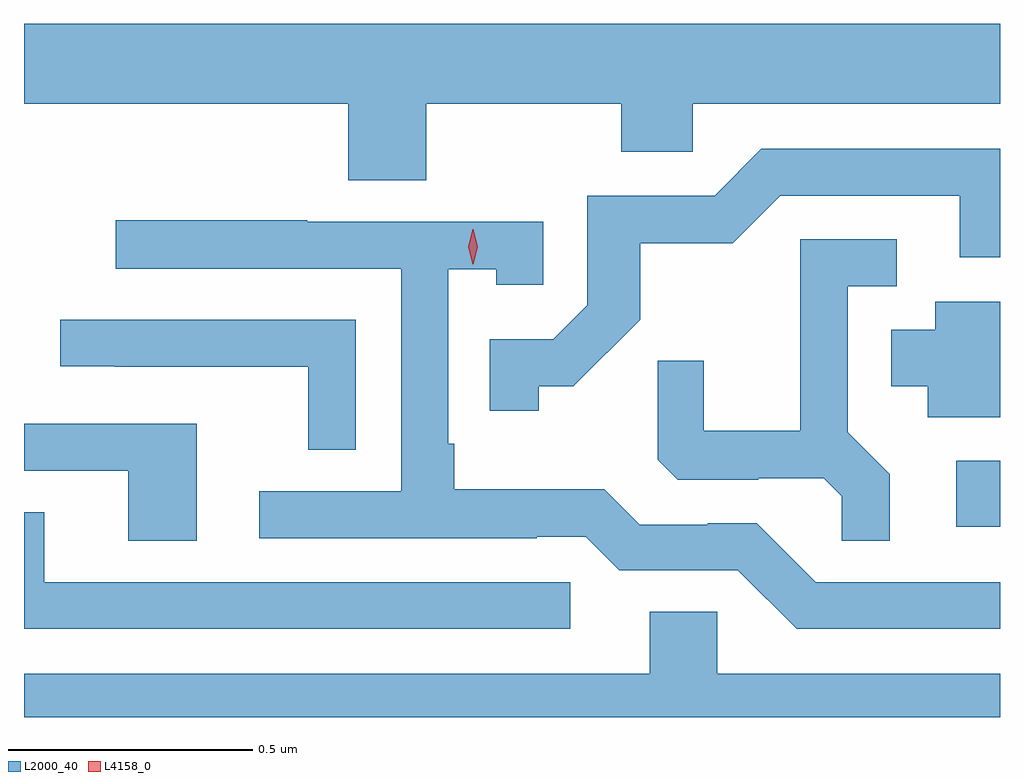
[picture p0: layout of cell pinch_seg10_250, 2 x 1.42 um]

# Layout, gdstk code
import gdstk
lib = gdstk.Library(unit=1e-6, precision=1e-09)
def R(c, l, rs):  # rectangles x0, y0, x1, y1
    for r in rs: c.add(gdstk.rectangle(r[:2], r[2:], *l))
def P(c, l, *ps):  # polygons
    for p in ps: c.add(gdstk.Polygon(p, *l))
L2000_40 = (2000, 40)
L4158_0 = (4158, 0)

pinch_seg10_250 = lib.new_cell('pinch_seg10_250')
R(pinch_seg10_250, L2000_40, [(615.375,1316.765,615.465,1316.901)])
P(pinch_seg10_250, L2000_40, [(614.289,1317.632),(614.689,1317.632),(614.689,1317.534),(614.835,1317.534),(614.835,1317.632),(615.465,1317.632),(615.465,1317.796),(613.465,1317.796),(613.465,1317.632),(614.129,1317.632),(614.129,1317.475),(614.289,1317.475)],
  [(614.52,1317.053),(614.59,1317.053),(614.728,1317.19),(614.728,1317.346),(614.917,1317.346),(615.015,1317.444),(615.383,1317.444),(615.383,1317.318),(615.465,1317.318),(615.465,1317.54),(614.976,1317.54),(614.88,1317.444),(614.619,1317.444),(614.619,1317.219),(614.55,1317.15),(614.419,1317.15),(614.419,1317.003),(614.52,1317.003)],
  [(615.465,1316.652),(615.087,1316.652),(614.967,1316.772),(614.866,1316.772),(614.866,1316.769),(614.727,1316.769),(614.654,1316.842),(614.347,1316.842),(614.347,1316.935),(614.334,1316.935),(614.334,1317.293),(614.433,1317.293),(614.433,1317.261),(614.529,1317.261),(614.529,1317.39),(614.045,1317.39),(614.045,1317.393),(613.653,1317.393),(613.653,1317.294),(614.238,1317.294),(614.238,1316.838),(613.947,1316.838),(613.947,1316.742),(614.516,1316.742),(614.516,1316.745),(614.616,1316.745),(614.685,1316.676),(614.928,1316.676),(615.048,1316.556),(615.465,1316.556)],
  [(615.239,1316.873),(615.153,1316.959),(615.153,1317.258),(615.253,1317.258),(615.253,1317.354),(615.056,1317.354),(615.056,1316.962),(614.858,1316.962),(614.858,1317.105),(614.764,1317.105),(614.764,1316.903),(614.805,1316.862),(614.97,1316.862),(614.97,1316.865),(615.104,1316.865),(615.141,1316.828),(615.141,1316.737),(615.239,1316.737)],
  [(615.465,1317.226),(615.332,1317.226),(615.332,1317.169),(615.242,1317.169),(615.242,1317.053),(615.317,1317.053),(615.317,1316.99),(615.465,1316.99)],
  [(614.145,1317.189),(613.539,1317.189),(613.539,1317.094),(613.651,1317.094),(613.651,1317.093),(614.047,1317.093),(614.047,1316.923),(614.145,1316.923)],
  [(613.819,1316.976),(613.465,1316.976),(613.465,1316.88),(613.679,1316.88),(613.679,1316.737),(613.819,1316.737)],
  [(614.584,1316.652),(613.507,1316.652),(613.507,1316.795),(613.465,1316.795),(613.465,1316.556),(614.584,1316.556)],
  [(615.465,1316.464),(614.886,1316.464),(614.886,1316.591),(614.747,1316.591),(614.747,1316.464),(613.465,1316.464),(613.465,1316.375),(615.465,1316.375)])
P(pinch_seg10_250, L4158_0, [(614.385,1317.303),(614.385,1317.303),(614.375,1317.339),(614.385,1317.375),(614.385,1317.375),(614.386,1317.375),(614.395,1317.339),(614.386,1317.303)])

lib.write_gds('pinch_seg10_250.gds')
